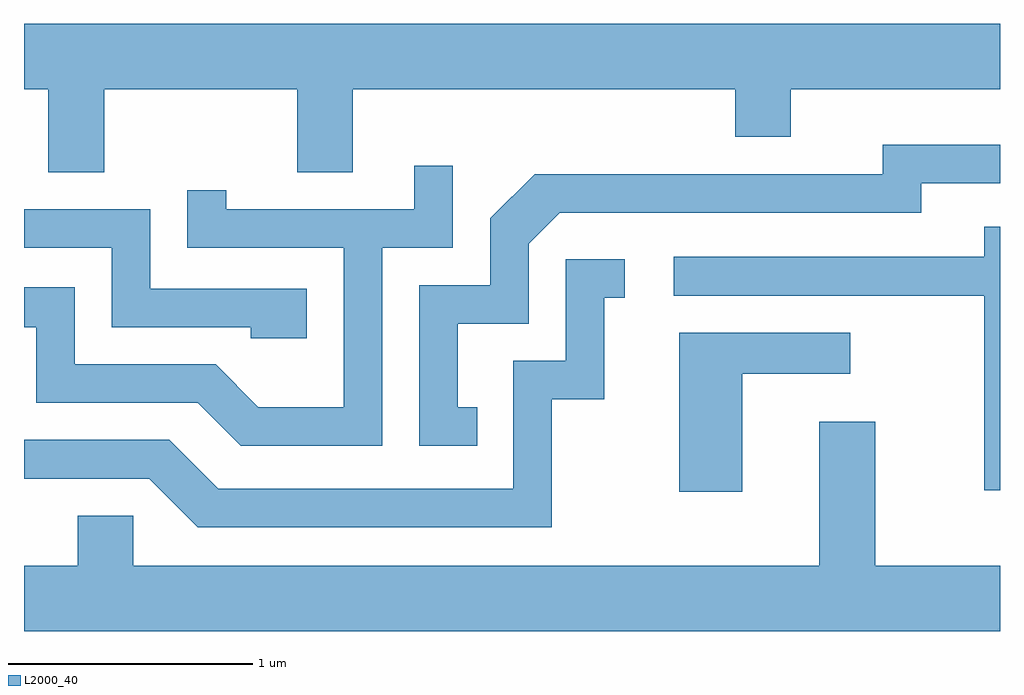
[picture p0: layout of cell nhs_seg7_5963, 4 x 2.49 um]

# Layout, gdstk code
import gdstk
lib = gdstk.Library(unit=1e-6, precision=1e-09)
def P(c, l, *ps):  # polygons
    for p in ps: c.add(gdstk.Polygon(p, *l))
L2000_40 = (2000, 40)

nhs_seg7_5963 = lib.new_cell('nhs_seg7_5963')
P(nhs_seg7_5963, L2000_40, [(367.611,1709.876),(367.711,1709.876),(367.711,1709.536),(367.939,1709.536),(367.939,1709.876),(368.731,1709.876),(368.731,1709.536),(368.959,1709.536),(368.959,1709.876),(370.526,1709.876),(370.526,1709.681),(370.754,1709.681),(370.754,1709.876),(371.611,1709.876),(371.611,1710.144),(367.611,1710.144)],
  [(369.468,1708.574),(369.389,1708.574),(369.389,1708.916),(369.679,1708.916),(369.679,1709.244),(369.807,1709.371),(371.289,1709.371),(371.289,1709.491),(371.611,1709.491),(371.611,1709.649),(371.131,1709.649),(371.131,1709.529),(369.704,1709.529),(369.521,1709.347),(369.521,1709.074),(369.231,1709.074),(369.231,1708.416),(369.468,1708.416)],
  [(369.079,1709.226),(369.369,1709.226),(369.369,1709.563),(369.211,1709.563),(369.211,1709.384),(368.439,1709.384),(368.439,1709.463),(368.281,1709.463),(368.281,1709.226),(368.921,1709.226),(368.921,1708.574),(368.572,1708.574),(368.397,1708.749),(367.819,1708.749),(367.819,1709.064),(367.611,1709.064),(367.611,1708.901),(367.661,1708.901),(367.661,1708.591),(368.324,1708.591),(368.499,1708.416),(369.079,1708.416)],
  [(368.769,1709.059),(368.129,1709.059),(368.129,1709.384),(367.611,1709.384),(367.611,1709.226),(367.971,1709.226),(367.971,1708.901),(368.541,1708.901),(368.541,1708.856),(368.769,1708.856)],
  [(371.611,1709.313),(371.546,1709.313),(371.546,1709.189),(370.273,1709.189),(370.273,1709.031),(371.546,1709.031),(371.546,1708.233),(371.611,1708.233)],
  [(369.774,1708.606),(369.989,1708.606),(369.989,1709.021),(370.073,1709.021),(370.073,1709.179),(369.831,1709.179),(369.831,1708.764),(369.616,1708.764),(369.616,1708.239),(368.407,1708.239),(368.207,1708.439),(367.611,1708.439),(367.611,1708.281),(368.124,1708.281),(368.324,1708.081),(369.774,1708.081)],
  [(370.554,1708.711),(370.998,1708.711),(370.998,1708.879),(370.296,1708.879),(370.296,1708.226),(370.554,1708.226)],
  [(371.611,1707.924),(371.099,1707.924),(371.099,1708.514),(370.871,1708.514),(370.871,1707.924),(368.059,1707.924),(368.059,1708.129),(367.831,1708.129),(367.831,1707.924),(367.611,1707.924),(367.611,1707.656),(371.611,1707.656)])

lib.write_gds('nhs_seg7_5963.gds')
